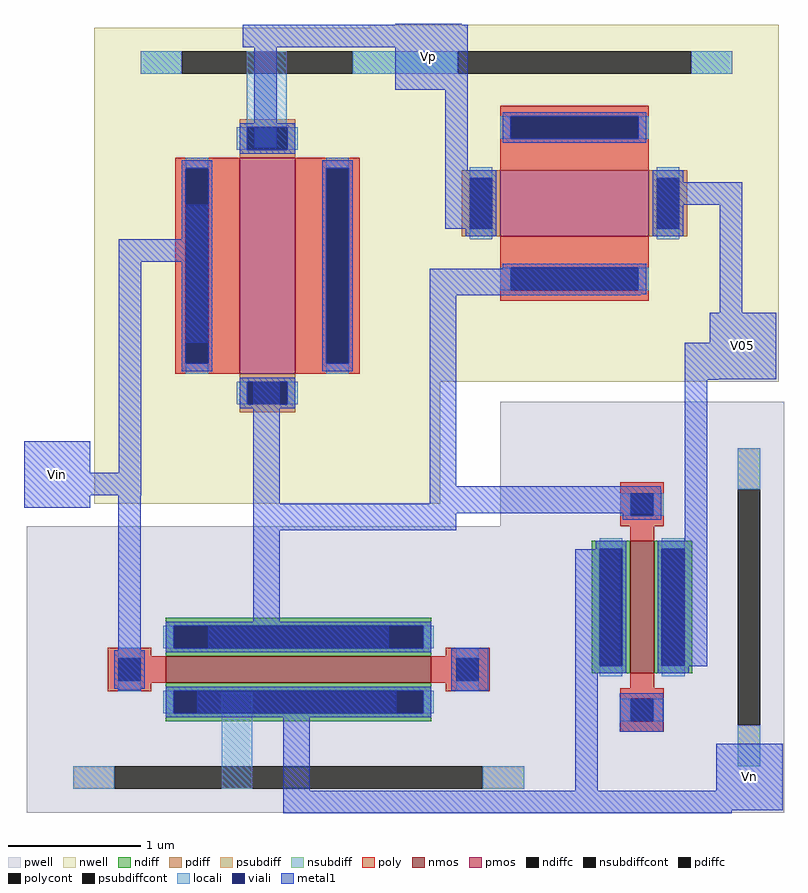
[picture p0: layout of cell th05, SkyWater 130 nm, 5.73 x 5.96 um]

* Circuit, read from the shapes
.subckt th05 Vp V05 Vin Vn
XM1 n1 Vin Vn Vn sky130_fd_pr__nfet_01v8 w=2 l=0.2
XM2 V05 n1 Vn Vn sky130_fd_pr__nfet_01v8 w=1 l=0.18
XM3 Vp Vin n1 Vp sky130_fd_pr__pfet_01v8 w=0.42 l=1.63
XM4 V05 n1 Vp Vp sky130_fd_pr__pfet_01v8 w=0.5 l=1.12
.ends

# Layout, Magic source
magic
tech sky130A
magscale 1 2
<< locali >>
rect 810 -42 870 106
rect 772 -1006 818 -860
<< metal1 >>
rect 1034 146 1134 148
rect 804 112 1143 146
rect 821 -39 855 112
rect 1034 48 1143 112
rect 1109 -87 1143 48
rect 719 -177 753 -125
rect 1109 -161 1179 -87
rect 1429 -91 1463 -85
rect 1429 -125 1557 -91
rect 1429 -161 1463 -125
rect 617 -211 753 -177
rect 474 -529 574 -482
rect 617 -529 651 -211
rect 719 -333 753 -211
rect 1086 -262 1404 -222
rect 474 -563 651 -529
rect 474 -582 574 -563
rect 616 -857 650 -563
rect 820 -576 860 -392
rect 1086 -550 1126 -262
rect 1523 -288 1557 -125
rect 1508 -333 1608 -288
rect 1470 -388 1608 -333
rect 1470 -389 1521 -388
rect 1086 -576 1434 -550
rect 820 -590 1434 -576
rect 820 -616 1126 -590
rect 820 -754 860 -616
rect 1470 -645 1504 -389
rect 752 -794 1024 -754
rect 1118 -858 1174 -794
rect 1305 -819 1373 -645
rect 866 -859 900 -858
rect 735 -893 1035 -859
rect 829 -895 905 -893
rect 865 -1009 905 -895
rect 1305 -1009 1339 -819
rect 1437 -821 1504 -645
rect 1372 -920 1438 -862
rect 1518 -1009 1618 -938
rect 865 -1038 1618 -1009
rect 865 -1043 1541 -1038
use sky130_fd_pr__nfet_01v8_Q7AWK3  XM0
transform 0 -1 888 1 0 -826
box -216 -410 216 410
use sky130_fd_pr__pfet_01v8_EXJYQP  XM1
transform 0 -1 841 1 0 -217
box -359 -261 359 261
use sky130_fd_pr__pfet_01v8_HJHF6N  XM2
transform 1 0 1304 0 1 -123
box -325 -269 308 269
use sky130_fd_pr__nfet_01v8_N39H2X  XM3
transform 1 0 1406 0 1 -732
box -214 -310 214 310
<< labels >>
flabel metal1 1518 -1038 1618 -938 0 FreeSans 256 0 0 0 Vn
port 3 nsew
flabel metal1 474 -582 574 -482 0 FreeSans 256 0 0 0 Vin
port 2 nsew
flabel metal1 1508 -388 1608 -288 0 FreeSans 256 0 0 0 V05
port 1 nsew
flabel metal1 1034 48 1134 148 0 FreeSans 256 0 0 0 Vp
port 0 nsew
<< end >>

# cell sky130_fd_pr__nfet_01v8_Q7AWK3: kit device sky130_fd_pr__nfet_01v8, w 2.0 l 0.2 m 1 nf 1 diffcov 100 polycov 100 guard 1 glc 1 grc 1 gtc 1 gbc 1 tbcov 100 rlcov 100 topc 1 botc 1 poverlap 0 doverlap 1 lmin 0.15 wmin 0.42 compatible {sky130_fd_pr__nfet_01v8 sky130_fd_pr__nfet_01v8_lvt sky130_fd_bs_flash__special_sonosfet_star sky130_fd_pr__nfet_g5v0d10v5 sky130_fd_pr__nfet_05v0_nvt sky130_fd_pr__nfet_03v3_nvt} full_metal 1 viasrc 100 viadrn 100 viagate 100 viagb 0 viagr 0 viagl 0 viagt 0

# cell sky130_fd_pr__pfet_01v8_EXJYQP: kit device sky130_fd_pr__pfet_01v8, w 0.42 l 1.633 m 1 nf 1 diffcov 100 polycov 100 guard 1 glc 1 grc 1 gtc 1 gbc 1 tbcov 100 rlcov 100 topc 1 botc 1 poverlap 0 doverlap 1 lmin 0.15 wmin 0.42 compatible {sky130_fd_pr__pfet_01v8 sky130_fd_pr__pfet_01v8_lvt sky130_fd_pr__pfet_01v8_hvt sky130_fd_pr__pfet_g5v0d10v5} full_metal 1 viasrc 100 viadrn 100 viagate 100 viagb 0 viagr 0 viagl 0 viagt 0

# cell sky130_fd_pr__pfet_01v8_HJHF6N: kit device sky130_fd_pr__pfet_01v8, w 0.5 l 1.12 m 1 nf 1 diffcov 100 polycov 100 guard 1 glc 1 grc 1 gtc 1 gbc 1 tbcov 100 rlcov 100 topc 1 botc 1 poverlap 0 doverlap 1 lmin 0.15 wmin 0.42 compatible {sky130_fd_pr__pfet_01v8 sky130_fd_pr__pfet_01v8_lvt sky130_fd_pr__pfet_01v8_hvt sky130_fd_pr__pfet_g5v0d10v5} full_metal 1 viasrc 100 viadrn 100 viagate 100 viagb 0 viagr 0 viagl 0 viagt 0

# cell sky130_fd_pr__nfet_01v8_N39H2X: kit device sky130_fd_pr__nfet_01v8, w 1.0 l 0.18 m 1 nf 1 diffcov 100 polycov 100 guard 1 glc 1 grc 1 gtc 1 gbc 1 tbcov 100 rlcov 100 topc 1 botc 1 poverlap 0 doverlap 1 lmin 0.15 wmin 0.42 compatible {sky130_fd_pr__nfet_01v8 sky130_fd_pr__nfet_01v8_lvt sky130_fd_bs_flash__special_sonosfet_star sky130_fd_pr__nfet_g5v0d10v5 sky130_fd_pr__nfet_05v0_nvt sky130_fd_pr__nfet_03v3_nvt} full_metal 1 viasrc 100 viadrn 100 viagate 100 viagb 0 viagr 0 viagl 0 viagt 0
